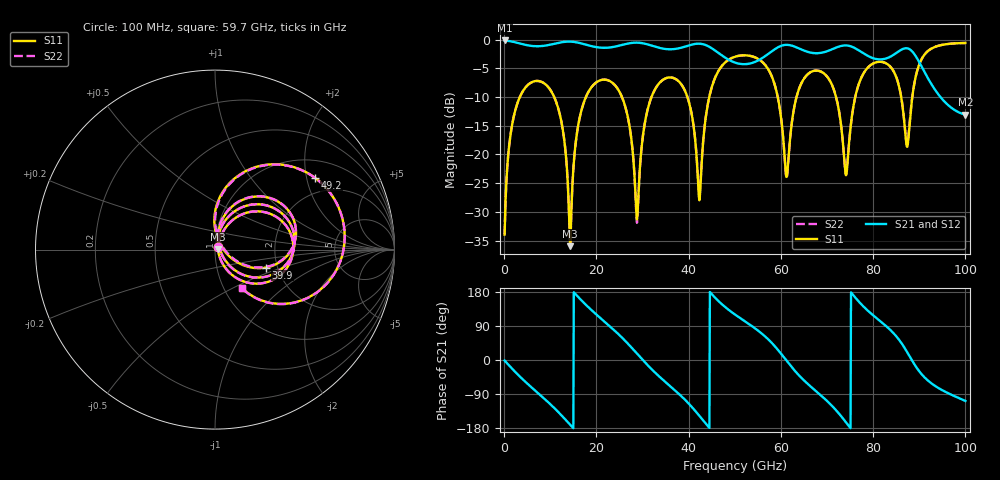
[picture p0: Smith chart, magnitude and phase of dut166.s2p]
! Touchstone file exported from HFSS 2026.1.0
!  File:  C:/ffzhzh/LocalFiles/Ansys_Project_Files/temp_train_TSV_RDL_166_1783649584_29156.aedt
!  Generated:  10:24:41 AM Jul 10, 2026
!  Design:  TSV_RDL
!  Project:  temp_train_TSV_RDL_166_1783649584_29156
! Variables:
!  h_bsmrdl = 3.81um
!  h_ox = 20um
!  h_rdl = 5um
!  h_sub = 95.45um
!  h_tmrdl = 2.66um
!  h_tsv = 95.45um
!  h_via = 3um
!  l_bsmrdl = 443.71um
!  l_sub = 3822.66um
!  l_tmrdl = 481.7um
!  m_sub = 200um
!  pitch = 52.51um
!  r_tsv = 10.55um
!  s_tmrdl = 10um
!  w_bsmrdl = 29.51um
!  w_sub = 500um
!  w_tmrdl = 25.4um
!  x_tsv_center1 = 494.4um
!  x_tsv_center2 = 967.62um
!  x_tsv_center3 = 1474.72um
!  x_tsv_center4 = 1947.94um
!  x_tsv_center5 = 2455.04um
!  x_tsv_center6 = 2928.26um
# GHz S MA R 50.000000
! Terminal data exported
! Port[1] = TM_RDL1_1_T1
! Port[2] = TM_RDL5_1_T1
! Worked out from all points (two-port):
!   1000 points, 100 MHz to 100 GHz, reference 50 ohm
!   highest |S21| = -0.14 dB at 100 MHz (marker M1); lowest = -13.1 dB at 100 GHz (marker M2)
!   |S21| within 3 dB of the highest: start of sweep to 47.93 GHz; 56.09 GHz to 79.69 GHz (23.6 GHz wide, 34.8 % of centre) (the widest 2 of 3)
!   lowest |S11| = -36.0 dB at 14.3 GHz (marker M3), VSWR 1.03, Z = 51.6 + j0.118 ohm
!   |S11| at or under -10 dB: 10.86 GHz to 17.73 GHz (6.871 GHz wide, 48.1 % of centre); 25.54 GHz to 31.94 GHz (6.4 GHz wide, 22.3 % of centre); 39.73 GHz to 44.47 GHz (4.737 GHz wide, 11.3 % of centre) (the widest 3 of 7)
!   |S22| runs from -35.9 to -0.6 dB; largest |S21 - S12| = 7.2e-12
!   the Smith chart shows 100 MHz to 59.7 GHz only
!   S11 on the Smith chart (normalised r, x): 100 MHz: 1.03, +0.02; 39.9 GHz: 1.74, -0.38; 49.2 GHz: 1.50, +2.26; 59.7 GHz: 1.21, -0.55
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0.1  0.02007 36.4  0.9841 -1.4  0.9841 -1.4  0.02007 36.4
! Gamma 0 0 0 0
! Port Impedance 50 0 50 0
2.2  0.2243 55.5  0.9525 -29.0  0.9525 -29.0  0.2243 55.5
7  0.4369 4.3  0.8764 -83.6  0.8764 -83.6  0.4368 4.3
11.9  0.2377 -48.1  0.9402 -139.4  0.9402 -139.4  0.2377 -48.1
14.3  0.01589 4.1  0.9613 -170.7  0.9613 -170.7  0.01595 4.3
16.8  0.2458 62.1  0.9258 156.9  0.9258 156.9  0.2459 62.1
24.7  0.3686 -19.8  0.8818 69.1  0.8818 69.1  0.3686 -19.9
28.8  0.02708 16.6  0.9417 17.0  0.9417 17.0  0.02545 16.7
33.4  0.4075 45.8  0.8536 -41.0  0.8536 -41.0  0.4074 46.2
39.9  0.3015 -19.4  0.8866 -113.5  0.8866 -113.5  0.3017 -18.5
42.3  0.03993 25.3  0.9222 -147.0  0.9222 -147.0  0.04469 26.4
44.8  0.3589 79.4  0.8517 176.7  0.8517 176.7  0.3597 78.7
49.2  0.687 35.5  0.6521 127.5  0.6521 127.5  0.6873 35.2
50.1  0.7107 28.1  0.6303 119.6  0.6303 119.6  0.711 27.8
59.7  0.2604 -55.0  0.8716 21.7  0.8716 21.7  0.2602 -55.3
61.3  0.06433 7.0  0.9013 -2.9  0.9013 -2.9  0.06285 7.1
66.7  0.5275 15.6  0.7676 -72.6  0.7676 -72.6  0.5274 15.7
74.7  0.1152 60.4  0.8849 -173.7  0.8849 -173.7  0.1161 60.0
83.4  0.5989 -4.4  0.7004 83.0  0.7004 83.0  0.5993 -4.2
88  0.2049 60.2  0.8204 7.7  0.8204 7.7  0.2086 58.9
90.9  0.719 38.8  0.5447 -42.8  0.5447 -42.8  0.7199 38.4
100  0.9351 -19.0  0.2218 -108.0  0.2218 -108.0  0.9354 -19.1
